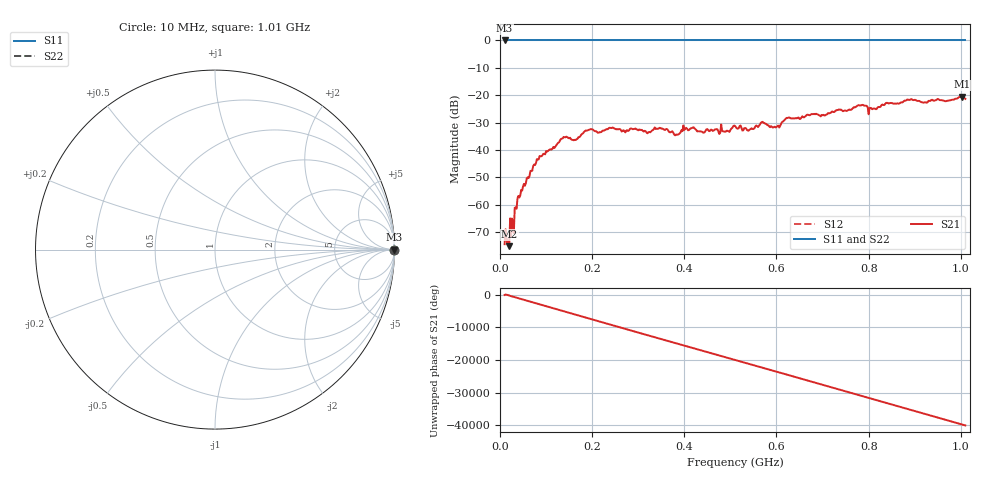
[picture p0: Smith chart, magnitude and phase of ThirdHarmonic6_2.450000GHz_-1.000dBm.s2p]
! 8/17/2025 4:22:23 AM
! C:\ANRITSUVNA\TEMP\TEMP.S2P
! CHANNEL.1
! TR.MEASUREMENT
! RAW.DATA
! RF.CORRECTION.OFF
! AVERAGING.OFF
! IF.BANDWIDTH: 5KHZ
! SWEEPTYPE:  FREQ.SWEEP(Linear)
! Reference Plane Port Info
! PORT:  PORT1  PORT2
! DISTANCE:  0  m  0  m
! TIME:  0  s  0  s
! PHASE.OFFSET:  0  deg.  0  deg.
! LOSS:  0  dB  0  dB
! REF.LOSS:  0  dB  0  dB
! REF.FREQ:  0  Hz  0  Hz
! Power Info
! POWER:  -20  dBm  -20  dBm
! EFF.POWER:  -20  dBm  -20  dBm
! SOURCE.ATTEN:  0  dB  0  dB
! TEST.ATTEN:  0  dB  0  dB
# GHZ S RI R 50.0
! FREQ.GHZ  S11RE  S11IM  S21RE  S21IM  S12RE  S12IM  S22RE  S22IM
!; PortSelection: Port_12
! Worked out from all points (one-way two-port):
!   501 points, 10 MHz to 1.01 GHz, reference 50 ohm
!   highest |S21| = -20.56 dB at 1.002 GHz (marker M1); lowest = -75.2 dB at 20 MHz (marker M2)
!   lowest |S11| = 0.0 dB at 10 MHz (marker M3)
!   |S11| at or under -10 dB: nowhere
!   |S22| runs from 0.0 to 0.0 dB; largest |S21 - S12| = 1.1
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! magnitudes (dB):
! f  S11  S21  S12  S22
! 10 MHz  0.0  -74.4  0.0  0.0
! 20 MHz  0.0  -75.2  0.0  0.0
! 42 MHz  0.0  -57.4  0.0  0.0
! 84 MHz  0.0  -43.4  0.0  0.0
! 136 MHz  0.0  -35.8  0.0  0.0
! 162 MHz  0.0  -36.3  0.0  0.0
! 178 MHz  0.0  -34.2  0.0  0.0
! 242 MHz  0.0  -32.0  0.0  0.0
! 322 MHz  0.0  -33.5  0.0  0.0
! 344 MHz  0.0  -32.2  0.0  0.0
! 382 MHz  0.0  -34.4  0.0  0.0
! 402 MHz  0.0  -32.2  0.0  0.0
! 440 MHz  0.0  -33.6  0.0  0.0
! 510 MHz  0.0  -31.2  0.0  0.0
! 540 MHz  0.0  -32.9  0.0  0.0
! 570 MHz  0.0  -29.7  0.0  0.0
! 596 MHz  0.0  -31.5  0.0  0.0
! 624 MHz  0.0  -28.3  0.0  0.0
! 678 MHz  0.0  -26.9  0.0  0.0
! 844 MHz  0.0  -23.0  0.0  0.0
! 1.002 GHz  0.0  -20.6  0.0  0.0
! 1.01 GHz  0.0  -21.3  0.0  0.0
